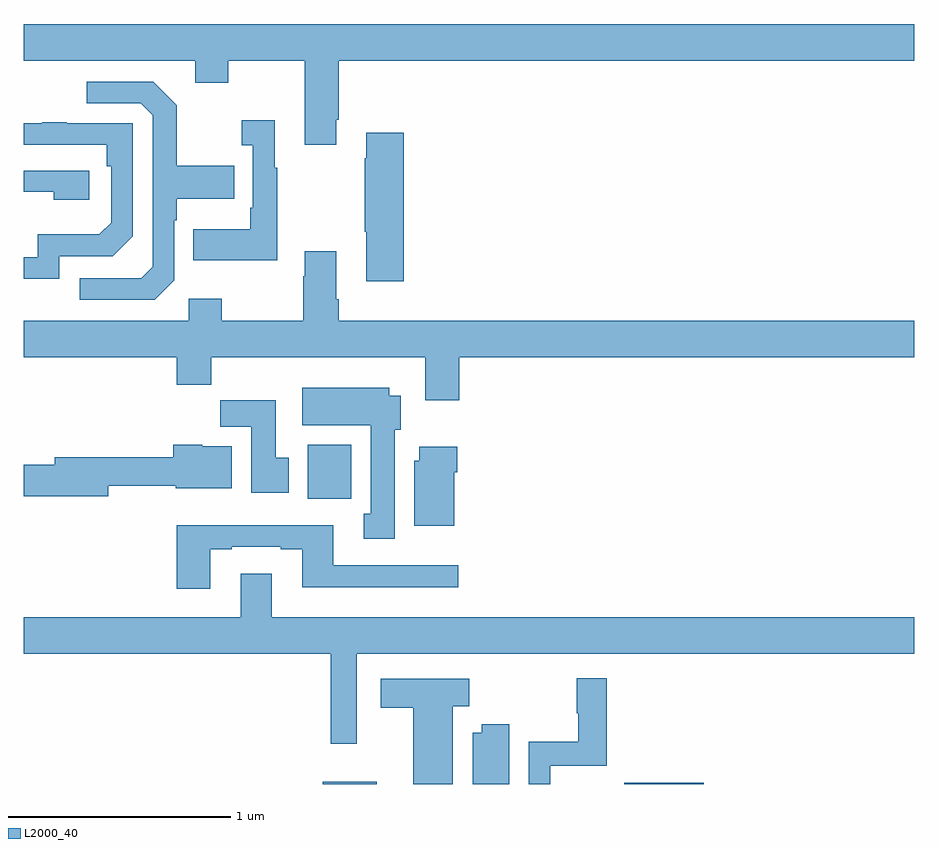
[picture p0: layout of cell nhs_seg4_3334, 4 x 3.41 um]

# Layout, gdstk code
import gdstk
lib = gdstk.Library(unit=1e-6, precision=1e-09)
def R(c, l, rs):  # rectangles x0, y0, x1, y1
    for r in rs: c.add(gdstk.rectangle(r[:2], r[2:], *l))
def P(c, l, *ps):  # polygons
    for p in ps: c.add(gdstk.Polygon(p, *l))
L2000_40 = (2000, 40)

nhs_seg4_3334 = lib.new_cell('nhs_seg4_3334')
R(nhs_seg4_3334, L2000_40, [(288.344,798.9,288.586,798.91), (289.696,798.9,290.053,798.905), (288.275,800.18,288.472,800.422)])
P(nhs_seg4_3334, L2000_40, [(288.403,801.883),(288.416,801.883),(288.416,802.148),(291,802.148),(291,802.312),(287,802.312),(287,802.148),(287.771,802.148),(287.771,802.049),(287.919,802.049),(287.919,802.148),(288.263,802.148),(288.263,801.771),(288.403,801.771)],
  [(287.676,801.162),(287.676,801.431),(287.689,801.431),(287.689,801.527),(287.945,801.527),(287.945,801.675),(287.689,801.675),(287.689,801.947),(287.583,802.053),(287.283,802.053),(287.283,801.957),(287.526,801.957),(287.58,801.903),(287.58,801.222),(287.529,801.171),(287.253,801.171),(287.253,801.075),(287.589,801.075)],
  [(288.139,801.667),(288.127,801.667),(288.127,801.88),(287.979,801.88),(287.979,801.767),(288.03,801.767),(288.03,801.487),(288.018,801.487),(288.018,801.391),(287.761,801.391),(287.761,801.251),(288.139,801.251)],
  [(287.16,801.27),(287.4,801.27),(287.49,801.36),(287.49,801.867),(287.195,801.867),(287.195,801.872),(287.083,801.872),(287.083,801.867),(287,801.867),(287,801.771),(287.374,801.771),(287.374,801.674),(287.394,801.674),(287.394,801.42),(287.341,801.367),(287.064,801.367),(287.064,801.264),(287,801.264),(287,801.168),(287.16,801.168)],
  [(288.707,801.823),(288.539,801.823),(288.539,801.71),(288.532,801.71),(288.532,801.379),(288.539,801.379),(288.539,801.156),(288.707,801.156)],
  [(287.296,801.654),(287,801.654),(287,801.558),(287.135,801.558),(287.135,801.524),(287.296,801.524)],
  [(288.956,800.816),(291,800.816),(291,800.98),(288.416,800.98),(288.416,801.076),(288.403,801.076),(288.403,801.292),(288.263,801.292),(288.263,801.179),(288.256,801.179),(288.256,800.98),(287.889,800.98),(287.889,801.079),(287.742,801.079),(287.742,800.98),(287,800.98),(287,800.816),(287.687,800.816),(287.687,800.692),(287.843,800.692),(287.843,800.816),(288.803,800.816),(288.803,800.622),(288.956,800.622)],
  [(288.667,800.49),(288.694,800.49),(288.694,800.644),(288.643,800.644),(288.643,800.68),(288.251,800.68),(288.251,800.51),(288.56,800.51),(288.56,800.114),(288.527,800.114),(288.527,800.001),(288.667,800.001)],
  [(288.19,800.364),(288.133,800.364),(288.133,800.622),(287.884,800.622),(287.884,800.504),(288.023,800.504),(288.023,800.208),(288.19,800.208)],
  [(287.38,800.239),(287.684,800.239),(287.684,800.228),(287.935,800.228),(287.935,800.416),(287.802,800.416),(287.802,800.422),(287.672,800.422),(287.672,800.368),(287.141,800.368),(287.141,800.334),(287,800.334),(287,800.192),(287.38,800.192)],
  [(288.934,800.3),(288.947,800.3),(288.947,800.413),(288.776,800.413),(288.776,800.352),(288.755,800.352),(288.755,800.06),(288.934,800.06)],
  [(287.839,799.953),(287.935,799.953),(287.935,799.965),(288.155,799.965),(288.155,799.953),(288.251,799.953),(288.251,799.784),(288.952,799.784),(288.952,799.881),(288.391,799.881),(288.391,800.062),(287.687,800.062),(287.687,799.776),(287.839,799.776)],
  [(288.495,799.484),(291,799.484),(291,799.648),(288.115,799.648),(288.115,799.843),(287.975,799.843),(287.975,799.648),(287,799.648),(287,799.484),(288.379,799.484),(288.379,799.08),(288.495,799.08)],
  [(289.365,798.981),(289.619,798.981),(289.619,799.375),(289.483,799.375),(289.483,799.218),(289.491,799.218),(289.491,799.09),(289.269,799.09),(289.269,798.9),(289.365,798.9)],
  [(288.928,799.25),(289,799.25),(289,799.372),(288.603,799.372),(288.603,799.243),(288.749,799.243),(288.749,798.9),(288.928,798.9)],
  [(289.18,799.168),(289.058,799.168),(289.058,799.129),(289.016,799.129),(289.016,798.9),(289.18,798.9)])

lib.write_gds('nhs_seg4_3334.gds')
